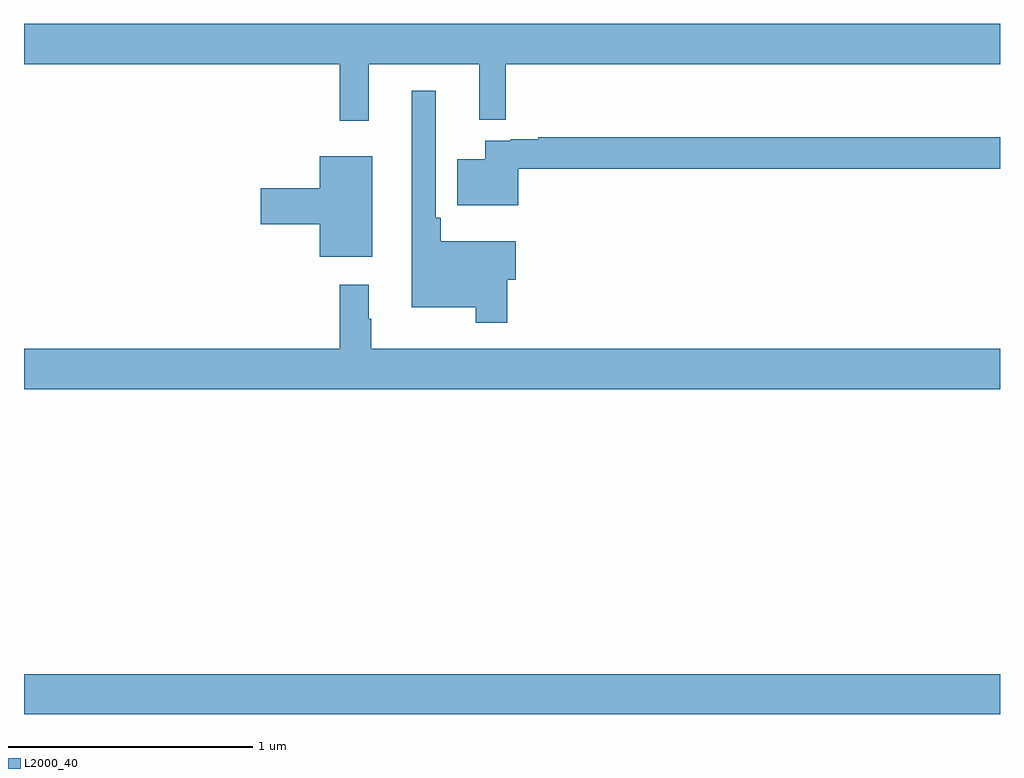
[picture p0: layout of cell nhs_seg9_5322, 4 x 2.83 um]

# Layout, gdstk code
import gdstk
lib = gdstk.Library(unit=1e-6, precision=1e-09)
def R(c, l, rs):  # rectangles x0, y0, x1, y1
    for r in rs: c.add(gdstk.rectangle(r[:2], r[2:], *l))
def P(c, l, *ps):  # polygons
    for p in ps: c.add(gdstk.Polygon(p, *l))
L2000_40 = (2000, 40)

nhs_seg9_5322 = lib.new_cell('nhs_seg9_5322')
R(nhs_seg9_5322, L2000_40, [(419,1243.04,423,1243.204)])
P(nhs_seg9_5322, L2000_40, [(420.413,1245.704),(420.866,1245.704),(420.866,1245.475),(420.974,1245.475),(420.974,1245.704),(423,1245.704),(423,1245.868),(419,1245.868),(419,1245.704),(420.295,1245.704),(420.295,1245.471),(420.413,1245.471)],
  [(420.98,1244.819),(421.015,1244.819),(421.015,1244.977),(420.707,1244.977),(420.707,1245.073),(420.687,1245.073),(420.687,1245.595),(420.59,1245.595),(420.59,1244.708),(420.852,1244.708),(420.852,1244.643),(420.98,1244.643)],
  [(421.025,1245.274),(423,1245.274),(423,1245.403),(421.108,1245.403),(421.108,1245.396),(420.994,1245.396),(420.994,1245.39),(420.89,1245.39),(420.89,1245.313),(420.776,1245.313),(420.776,1245.125),(421.025,1245.125)],
  [(420.427,1245.325),(420.212,1245.325),(420.212,1245.194),(419.97,1245.194),(419.97,1245.047),(420.212,1245.047),(420.212,1244.915),(420.427,1244.915)],
  [(423,1244.536),(420.424,1244.536),(420.424,1244.66),(420.412,1244.66),(420.412,1244.8),(420.295,1244.8),(420.295,1244.536),(419,1244.536),(419,1244.372),(423,1244.372)])

lib.write_gds('nhs_seg9_5322.gds')
